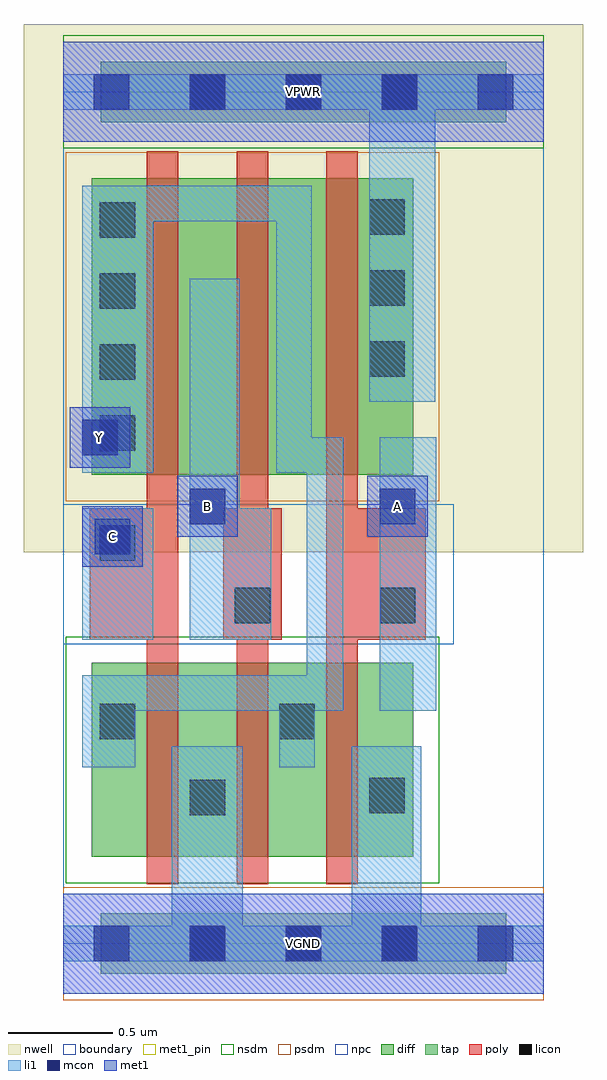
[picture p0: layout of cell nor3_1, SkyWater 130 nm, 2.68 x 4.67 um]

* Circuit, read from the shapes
.subckt nor3_1 A B C VGND VPWR Y
XM1 VGND C Y VGND sky130_fd_pr__nfet_01v8 w=0.93 l=0.15
XM2 Y B VGND VGND sky130_fd_pr__nfet_01v8 w=0.93 l=0.15
XM3 VGND A Y VGND sky130_fd_pr__nfet_01v8 w=0.93 l=0.15
XM4 n1 C Y VPWR sky130_fd_pr__pfet_01v8 w=1.42 l=0.15
XM5 n2 B n1 VPWR sky130_fd_pr__pfet_01v8 w=1.42 l=0.15
XM6 VPWR A n2 VPWR sky130_fd_pr__pfet_01v8 w=1.42 l=0.15
.ends

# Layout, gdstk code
import gdstk
lib = gdstk.Library(unit=1e-6, precision=1e-09)
def R(c, l, rs):  # rectangles x0, y0, x1, y1
    for r in rs: c.add(gdstk.rectangle(r[:2], r[2:], *l))
def A(c, l, x, y, w, h, nx, ny, dx, dy):  # array of equal rectangles
    R(c, l, [(x+i*dx, y+j*dy, x+i*dx+w, y+j*dy+h) for i in range(nx) for j in range(ny)])
nwell = (64, 20)
diff = (65, 20)
tap = (65, 44)
poly = (66, 20)
licon = (66, 44)
li1 = (67, 20)
mcon = (67, 44)
met1_pin = (68, 16)
met1 = (68, 20)
nsdm = (93, 44)
psdm = (94, 20)
npc = (95, 20)
boundary = (235, 4)

nor3_1 = lib.new_cell('nor3_1')
R(nor3_1, nwell, [(-0.19,1.875,2.49,4.405), (0,1.875,2.3,4.405)])
R(nor3_1, diff, [(0.135,0.415,1.675,1.345), (0.135,2.245,1.675,3.665)])
R(nor3_1, tap, [(0.18,-0.145,2.12,0.145), (0.18,3.935,2.12,4.225)])
A(nor3_1, poly, 0.4, 0.285, 0.15, 3.51, 3, 1, 0.43, 0)
R(nor3_1, poly, [(0.125,1.455,0.55,2.085), (0.765,1.455,1.045,2.085), (1.26,1.455,1.735,2.085)])
A(nor3_1, licon, 0.605, -0.085, 0.17, 0.17, 3, 2, 0.46, 4.08)
A(nor3_1, licon, 0.175, 2.36, 0.17, 0.17, 1, 4, 0, 0.34)
A(nor3_1, licon, 1.465, 2.715, 0.17, 0.17, 1, 3, 0, 0.34)
R(nor3_1, licon, [(0.605,0.615,0.775,0.785), (1.465,0.625,1.635,0.795), (0.175,0.98,0.345,1.15), (1.035,0.98,1.205,1.15), (0.82,1.535,0.99,1.705), (1.515,1.535,1.685,1.705), (0.175,1.835,0.345,2.005)])
R(nor3_1, li1, [(0,-0.085,2.3,0.085), (0.52,-0.085,0.86,0.945), (1.38,-0.085,1.715,0.945), (0.09,0.845,0.345,1.285), (1.035,0.845,1.205,1.285), (0.09,1.115,1.34,1.285), (1.165,1.115,1.34,2.425), (1.515,1.115,1.785,2.425), (0.09,1.455,0.43,2.085), (0.605,1.455,0.845,3.185), (0.605,1.455,0.995,2.085), (0.09,2.255,0.43,3.63), (1.02,2.255,1.19,3.63), (1.465,2.595,1.78,4.165), (0.09,3.46,1.19,3.63), (0,3.995,2.3,4.165)])
A(nor3_1, mcon, 0.145, -0.085, 0.17, 0.17, 5, 2, 0.46, 4.08)
R(nor3_1, mcon, [(0.15,1.865,0.32,2.035), (0.605,2.01,0.775,2.18), (1.515,2.01,1.685,2.18), (0.09,2.34,0.26,2.51)])
R(nor3_1, met1_pin, [(0,-0.24,2.3,0.24), (0.09,1.805,0.38,2.095), (0.545,1.95,0.835,2.24), (1.455,1.95,1.745,2.24), (0.03,2.28,0.32,2.57), (0,3.84,2.3,4.32)])
R(nor3_1, met1, [(0,-0.24,2.3,0.24), (0.09,1.805,0.38,2.095), (0.545,1.95,0.835,2.24), (1.455,1.95,1.745,2.24), (0.03,2.28,0.32,2.57), (0,3.84,2.3,4.32)])
R(nor3_1, nsdm, [(0.01,0.29,1.8,1.47), (0,3.81,2.3,4.35)])
R(nor3_1, psdm, [(0,-0.27,2.3,0.27), (0.01,2.12,1.8,3.79)])
R(nor3_1, npc, [(0,1.435,1.87,2.105)])
R(nor3_1, boundary, [(0,0,2.3,4.08)])
nor3_1.add(gdstk.Label('A', (1.6,2.095), layer=68, texttype=5))
nor3_1.add(gdstk.Label('B', (0.69,2.095), layer=68, texttype=5))
nor3_1.add(gdstk.Label('C', (0.235,1.95), layer=68, texttype=5))
nor3_1.add(gdstk.Label('Y', (0.175,2.425), layer=68, texttype=5))
nor3_1.add(gdstk.Label('VPWR', (1.15,4.08), layer=68, texttype=5))
nor3_1.add(gdstk.Label('VGND', (1.15,0), layer=68, texttype=5))
nor3_1.add(gdstk.Label('A', (1.6,2.095), layer=68, texttype=16))
nor3_1.add(gdstk.Label('B', (0.69,2.095), layer=68, texttype=16))
nor3_1.add(gdstk.Label('C', (0.235,1.95), layer=68, texttype=16))
nor3_1.add(gdstk.Label('Y', (0.175,2.425), layer=68, texttype=16))
nor3_1.add(gdstk.Label('VPWR', (1.15,4.08), layer=68, texttype=16))
nor3_1.add(gdstk.Label('VGND', (1.15,0), layer=68, texttype=16))

lib.write_gds('nor3_1.gds')
